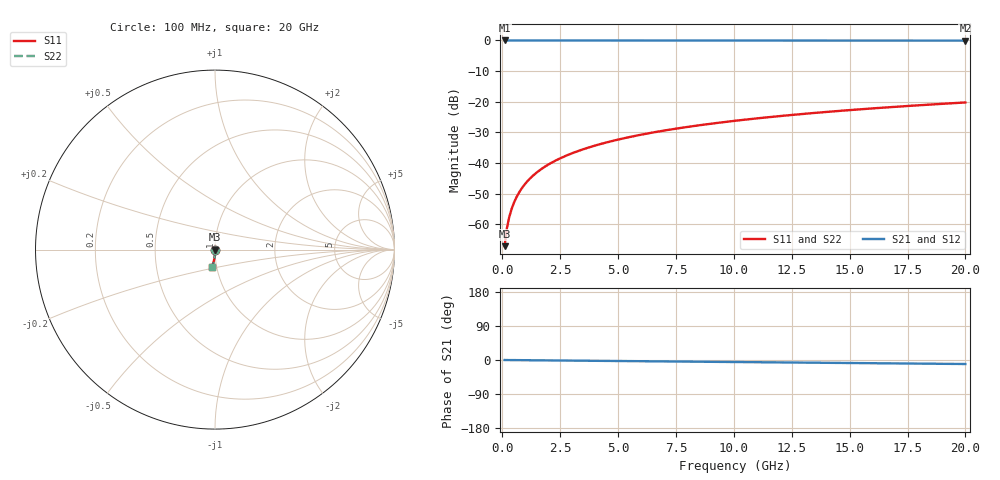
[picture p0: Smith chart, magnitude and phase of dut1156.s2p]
! Touchstone file exported from HFSS 2026.1.0
!  File:  C:/ffzhzh/LocalFiles/Ansys_Project_Files/temp_train_TSV_1156_1783191664_55132.aedt
!  Generated:  03:02:28 AM Jul  5, 2026
!  Design:  TSV
!  Project:  temp_train_TSV_1156_1783191664_55132
! Variables:
!  h_bsmrdl = 2um
!  h_ox = 20um
!  h_rdl = 5um
!  h_sub = 97.04um
!  h_tmrdl = 5um
!  h_tsv = 97.04um
!  h_via = 3um
!  l_bsmrdl = 300um
!  l_sub = 426.52um
!  l_tmrdl = 200um
!  m_sub = 200um
!  pitch = 34.23um
!  r_tsv = 13.26um
!  s_tmrdl = 10um
!  w_bsmrdl = 18um
!  w_sub = 500um
!  w_tmrdl = 12um
!  x_tsv_center1 = 206um
!  x_tsv_center2 = 524um
!  x_tsv_center3 = 736um
!  x_tsv_center4 = 1054um
!  x_tsv_center5 = 1266um
!  x_tsv_center6 = 1584um
# GHz S MA R 50.000000
! Terminal data exported
! Port[1] = TSV1_1_T1
! Port[2] = TSV1_1_T2
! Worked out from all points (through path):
!   200 points, 100 MHz to 20 GHz, reference 50 ohm
!   highest |S21| = 0.00 dB at 100 MHz (marker M1); lowest = -0.1 dB at 20 GHz (marker M2)
!   group delay of S21, straight-line fit = 1.47 ps
!   lowest |S11| = -67.1 dB at 100 MHz (marker M3), VSWR 1.00, Z = 50 - j0.0429 ohm
!   |S11| at or under -10 dB: start of sweep to end of sweep
!   |S22| runs from -67.1 to -20.2 dB; largest |S21 - S12| = 4.1e-15
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0.1  0.0004429 -75.7  0.9999 -0.1  0.9999 -0.1  0.0004429 -75.7
! Gamma 0 0 0 0
! Port Impedance 50 0 50 0
0.2  0.0008743 -81.4  0.9999 -0.1  0.9999 -0.1  0.0008743 -81.4
0.3  0.00132 -83.1  0.9998 -0.2  0.9998 -0.2  0.00132 -83.1
0.4  0.001778 -83.8  0.9998 -0.2  0.9998 -0.2  0.001778 -83.8
0.5  0.002246 -84.3  0.9998 -0.3  0.9998 -0.3  0.002246 -84.3
0.7  0.003202 -85.1  0.9997 -0.4  0.9997 -0.4  0.003202 -85.1
0.8  0.003686 -85.4  0.9997 -0.4  0.9997 -0.4  0.003686 -85.4
1  0.004659 -86.0  0.9996 -0.5  0.9996 -0.5  0.004659 -86.0
1.2  0.005636 -86.6  0.9996 -0.7  0.9996 -0.7  0.005636 -86.6
1.4  0.006612 -87.0  0.9995 -0.8  0.9995 -0.8  0.006612 -87.0
1.7  0.008077 -87.6  0.9995 -0.9  0.9995 -0.9  0.008077 -87.6
2  0.00954 -88.1  0.9995 -1.1  0.9995 -1.1  0.00954 -88.1
2.7  0.01295 -89.0  0.9994 -1.5  0.9994 -1.5  0.01295 -89.0
3.5  0.01686 -89.7  0.9992 -1.9  0.9992 -1.9  0.01686 -89.7
4.2  0.02028 -90.3  0.9991 -2.2  0.9991 -2.2  0.02028 -90.3
5  0.0242 -90.9  0.9989 -2.7  0.9989 -2.7  0.0242 -90.9
6.8  0.03304 -92.1  0.9986 -3.6  0.9986 -3.6  0.03304 -92.1
8.3  0.04042 -93.0  0.9982 -4.4  0.9982 -4.4  0.04042 -93.0
10.1  0.04926 -94.1  0.9977 -5.4  0.9977 -5.4  0.04926 -94.1
13.4  0.06543 -96.0  0.9966 -7.1  0.9966 -7.1  0.06543 -96.0
16.7  0.08152 -97.9  0.9953 -8.8  0.9953 -8.8  0.08152 -97.9
20  0.09753 -99.7  0.9937 -10.6  0.9937 -10.6  0.09753 -99.7
